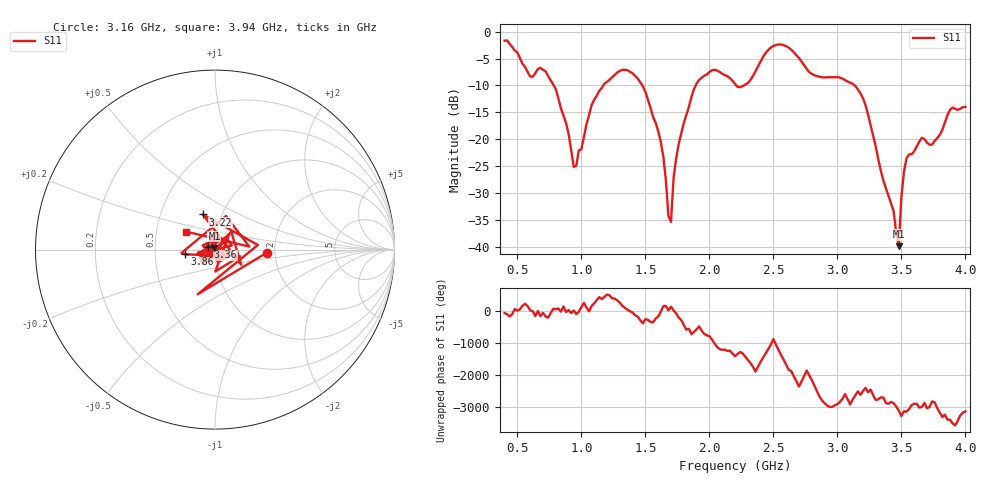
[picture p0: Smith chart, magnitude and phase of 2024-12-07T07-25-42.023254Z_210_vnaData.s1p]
!Created with skrf (http://scikit-rf.org).
# Hz S RI R 50.0
!freq ReS11 ImS11
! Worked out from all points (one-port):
!   181 points, 400 MHz to 4 GHz, reference 50 ohm
!   lowest |S11| = -39.8 dB at 3.48 GHz (marker M1), VSWR 1.02, Z = 49.7 + j0.966 ohm
!   |S11| at or under -10 dB: 783.5 MHz to 1.171 GHz (387.9 MHz wide, 39.7 % of centre); 1.476 GHz to 1.893 GHz (417.2 MHz wide, 24.8 % of centre); 3.135 GHz to end of sweep (the widest 3 of 4)
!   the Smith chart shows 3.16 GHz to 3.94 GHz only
!   S11 on the Smith chart (normalised r, x): 3.16 GHz: 1.82, -0.06; 3.22 GHz: 0.81, +0.33; 3.36 GHz: 0.93, +0.03; 3.86 GHz: 0.71, -0.04; 3.94 GHz: 0.71, +0.15
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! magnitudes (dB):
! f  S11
! 400 MHz  -1.7
! 600 MHz  -8.3
! 720 MHz  -7.4
! 860 MHz  -15.6
! 960 MHz  -24.9
! 1.08 GHz  -13.6
! 1.3 GHz  -7.3
! 1.5 GHz  -11.2
! 1.62 GHz  -20.5
! 1.68 GHz  -34.2
! 1.7 GHz  -35.3
! 1.72 GHz  -27.3
! 1.76 GHz  -20.9
! 1.92 GHz  -9.0
! 2.2 GHz  -9.7
! 2.5 GHz  -2.7
! 2.66 GHz  -3.9
! 3.1 GHz  -9.5
! 3.16 GHz  -10.7
! 3.22 GHz  -13.7
! 3.36 GHz  -27.7
! 3.48 GHz  -39.8
! 3.52 GHz  -26.1
! 3.56 GHz  -22.8
! 3.74 GHz  -21.0
! 3.86 GHz  -15.5
! 3.94 GHz  -14.5
! 4 GHz  -14.0
